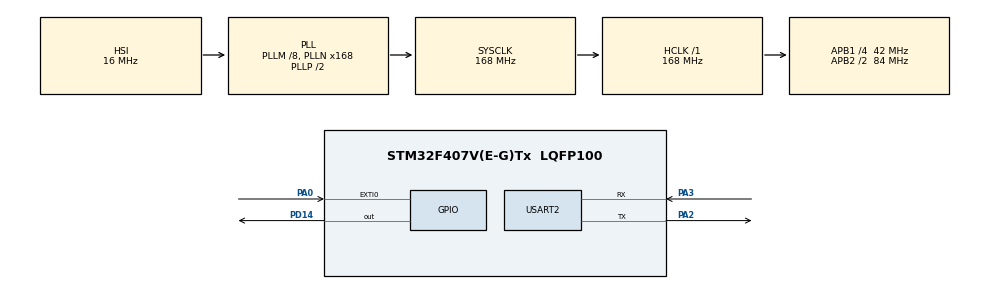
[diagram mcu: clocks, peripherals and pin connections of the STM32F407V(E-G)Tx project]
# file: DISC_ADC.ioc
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FREERTOS.INCLUDE_vTaskDelayUntil=1
FREERTOS.Tasks01=defaultTask,-3,128,StartDefaultTask,Default,NULL,Dynamic,NULL,NULL
FREERTOS.configUSE_NEWLIB_REENTRANT=1
Mcu.Family=STM32F4
Mcu.Name=STM32F407V(E-G)Tx
Mcu.Package=LQFP100
NVIC.EXTI0_IRQn=true\:0\:0\:false\:false\:true\:false\:true\:true\:true
NVIC.PriorityGroup=NVIC_PRIORITYGROUP_4
NVIC.TIM1_UP_TIM10_IRQn=true\:15\:0\:false\:false\:true\:false\:false\:true\:true
NVIC.TimeBase=TIM1_UP_TIM10_IRQn
NVIC.TimeBaseIP=TIM1
PA0-WKUP.Signal=GPXTI0
PA2.Mode=Asynchronous
PA2.Signal=USART2_TX
PA3.Mode=Asynchronous
PA3.Signal=USART2_RX
PD14.Signal=GPIO_Output
ProjectManager.HeapSize=0x200
ProjectManager.StackSize=0x400
ProjectManager.TargetToolchain=STM32CubeIDE
RCC.48MHZClocksFreq_Value=48000000
RCC.AHBFreq_Value=168000000
RCC.APB1CLKDivider=RCC_HCLK_DIV4
RCC.APB1Freq_Value=42000000
RCC.APB1TimFreq_Value=84000000
RCC.APB2CLKDivider=RCC_HCLK_DIV2
RCC.APB2Freq_Value=84000000
RCC.APB2TimFreq_Value=168000000
RCC.CortexFreq_Value=168000000
RCC.HCLKFreq_Value=168000000
RCC.HSE_VALUE=8000000
RCC.HSI_VALUE=16000000
RCC.PLLM=8
RCC.PLLN=168
RCC.PLLQ=7
RCC.SYSCLKFreq_VALUE=168000000
RCC.SYSCLKSource=RCC_SYSCLKSOURCE_PLLCLK
RCC.VCOOutputFreq_Value=336000000
USART2.VirtualMode=VM_ASYNC
VP_FREERTOS_VS_CMSIS_V1.Mode=CMSIS_V1
VP_SYS_VS_tim1.Mode=TIM1
board=STM32F407G-DISC1

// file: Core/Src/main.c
/* USER CODE BEGIN Header */
/**
  ******************************************************************************
  * @file           : main.c
  * @brief          : Main program body
  ******************************************************************************
  * @attention
  *
  * Copyright (c) 2024 STMicroelectronics.
  * All rights reserved.
  *
  * This software is licensed under terms that can be found in the LICENSE file
  * in the root directory of this software component.
  * If no LICENSE file comes with this software, it is provided AS-IS.
  *
  ******************************************************************************
  */
/* USER CODE END Header */
#include "main.h"
#include "cmsis_os.h"

/* USER CODE BEGIN Includes */
#include<stdio.h>
#include<string.h>
/* USER CODE END Includes */

UART_HandleTypeDef huart2;

osThreadId defaultTaskHandle;

void SystemClock_Config(void);
static void MX_GPIO_Init(void);
static void MX_USART2_UART_Init(void);
void StartDefaultTask(void const * argument);

/* USER CODE BEGIN 0 */

void vReadADCValuePeriodic(void *pvParam)
{
	char str[32];
	portTickType xLastWakeupTime = xTaskGetTickCount();
	while(1)
	{
		HAL_ADC_Start(&hadc1);
		HAL_ADC_PollForConversion(&hadc1, HAL_MAX_DELAY);
		uint16_t value = HAL_ADC_GetValue(&hadc1);
		HAL_ADC_Stop(&hadc1);

		sprintf(str, "ADC value = %d\r\n", value);
		HAL_UART_Transmit(&huart2, (uint8_t *)str, strlen(str), HAL_MAX_DELAY);

		vTaskDelayUntil(&xLastWakeupTime, 5000 / portTICK_RATE_MS);
	}
	vTaskDelete(NULL);
}
void HAL_GPIO_EXTI_Callback(uint16_t GPIO_Pin)
{
	HAL_GPIO_TogglePin(GPIOD, GPIO_PIN_14);
}
/* USER CODE END 0 */

int main(void)
{

  /* USER CODE BEGIN 1 */

	BaseType_t xRet;
	char *pcMessage = "ADC Demo\r\n";
  /* USER CODE END 1 */

  /* MCU Configuration--------------------------------------------------------*/

  /* Reset of all peripherals, Initializes the Flash interface and the Systick. */
  HAL_Init();

  /* Configure the system clock */
  SystemClock_Config();

  /* Initialize all configured peripherals */
  MX_GPIO_Init();
  MX_USART2_UART_Init();
  /* USER CODE BEGIN 2 */
  HAL_UART_Transmit(&huart2, (uint8_t *)pcMessage, strlen(pcMessage), HAL_MAX_DELAY);
  /* USER CODE END 2 */

  /* Create the thread(s) */
  /* definition and creation of defaultTask */
  osThreadDef(defaultTask, StartDefaultTask, osPriorityIdle, 0, 128);
  defaultTaskHandle = osThreadCreate(osThread(defaultTask), NULL);

  /* USER CODE BEGIN RTOS_THREADS */
  /* add threads, ... */
  xRet = xTaskCreate(vReadADCValuePeriodic, "ADCTask", configMINIMAL_STACK_SIZE, NULL, 3, NULL);
  if(xRet != pdTRUE)
	  Error_Handler();
  /* USER CODE END RTOS_THREADS */

  /* Start scheduler */
  osKernelStart();

  /* We should never get here as control is now taken by the scheduler */

  /* Infinite loop */
  while (1)
  {

  }
}

void SystemClock_Config(void)
{
  RCC_OscInitTypeDef RCC_OscInitStruct = {0};
  RCC_ClkInitTypeDef RCC_ClkInitStruct = {0};

  /** Configure the main internal regulator output voltage
  */
  __HAL_RCC_PWR_CLK_ENABLE();
  __HAL_PWR_VOLTAGESCALING_CONFIG(PWR_REGULATOR_VOLTAGE_SCALE1);

  /** Initializes the RCC Oscillators according to the specified parameters
  * in the RCC_OscInitTypeDef structure.
  */
  RCC_OscInitStruct.OscillatorType = RCC_OSCILLATORTYPE_HSI;
  RCC_OscInitStruct.HSIState = RCC_HSI_ON;
  RCC_OscInitStruct.HSICalibrationValue = RCC_HSICALIBRATION_DEFAULT;
  RCC_OscInitStruct.PLL.PLLState = RCC_PLL_ON;
  RCC_OscInitStruct.PLL.PLLSource = RCC_PLLSOURCE_HSI;
  RCC_OscInitStruct.PLL.PLLM = 8;
  RCC_OscInitStruct.PLL.PLLN = 168;
  RCC_OscInitStruct.PLL.PLLP = RCC_PLLP_DIV2;
  RCC_OscInitStruct.PLL.PLLQ = 7;
  if (HAL_RCC_OscConfig(&RCC_OscInitStruct) != HAL_OK)
  {
    Error_Handler();
  }

  /** Initializes the CPU, AHB and APB buses clocks
  */
  RCC_ClkInitStruct.ClockType = RCC_CLOCKTYPE_HCLK|RCC_CLOCKTYPE_SYSCLK
                              |RCC_CLOCKTYPE_PCLK1|RCC_CLOCKTYPE_PCLK2;
  RCC_ClkInitStruct.SYSCLKSource = RCC_SYSCLKSOURCE_PLLCLK;
  RCC_ClkInitStruct.AHBCLKDivider = RCC_SYSCLK_DIV1;
  RCC_ClkInitStruct.APB1CLKDivider = RCC_HCLK_DIV4;
  RCC_ClkInitStruct.APB2CLKDivider = RCC_HCLK_DIV2;

  if (HAL_RCC_ClockConfig(&RCC_ClkInitStruct, FLASH_LATENCY_5) != HAL_OK)
  {
    Error_Handler();
  }
}

static void MX_USART2_UART_Init(void)
{

  huart2.Instance = USART2;
  huart2.Init.BaudRate = 115200;
  huart2.Init.WordLength = UART_WORDLENGTH_8B;
  huart2.Init.StopBits = UART_STOPBITS_1;
  huart2.Init.Parity = UART_PARITY_NONE;
  huart2.Init.Mode = UART_MODE_TX_RX;
  huart2.Init.HwFlowCtl = UART_HWCONTROL_NONE;
  huart2.Init.OverSampling = UART_OVERSAMPLING_16;
  if (HAL_UART_Init(&huart2) != HAL_OK)
  {
    Error_Handler();
  }

}

static void MX_GPIO_Init(void)
{
  GPIO_InitTypeDef GPIO_InitStruct = {0};

  /* GPIO Ports Clock Enable */
  __HAL_RCC_GPIOA_CLK_ENABLE();
  __HAL_RCC_GPIOD_CLK_ENABLE();

  /*Configure GPIO pin Output Level */
  HAL_GPIO_WritePin(GPIOD, GPIO_PIN_14, GPIO_PIN_RESET);

  /*Configure GPIO pin : PA0 */
  GPIO_InitStruct.Pin = GPIO_PIN_0;
  GPIO_InitStruct.Mode = GPIO_MODE_IT_RISING;
  GPIO_InitStruct.Pull = GPIO_NOPULL;
  HAL_GPIO_Init(GPIOA, &GPIO_InitStruct);

  /*Configure GPIO pin : PD14 */
  GPIO_InitStruct.Pin = GPIO_PIN_14;
  GPIO_InitStruct.Mode = GPIO_MODE_OUTPUT_PP;
  GPIO_InitStruct.Pull = GPIO_NOPULL;
  GPIO_InitStruct.Speed = GPIO_SPEED_FREQ_LOW;
  HAL_GPIO_Init(GPIOD, &GPIO_InitStruct);

  /* EXTI interrupt init*/
  HAL_NVIC_SetPriority(EXTI0_IRQn, 0, 0);
  HAL_NVIC_EnableIRQ(EXTI0_IRQn);

}

void StartDefaultTask(void const * argument)
{
  for(;;)
  {
    osDelay(1);
  }
}

void HAL_TIM_PeriodElapsedCallback(TIM_HandleTypeDef *htim)
{
  if (htim->Instance == TIM1) {
    HAL_IncTick();
  }
}

void Error_Handler(void)
{
  __disable_irq();
  while (1)
  {
  }
}
